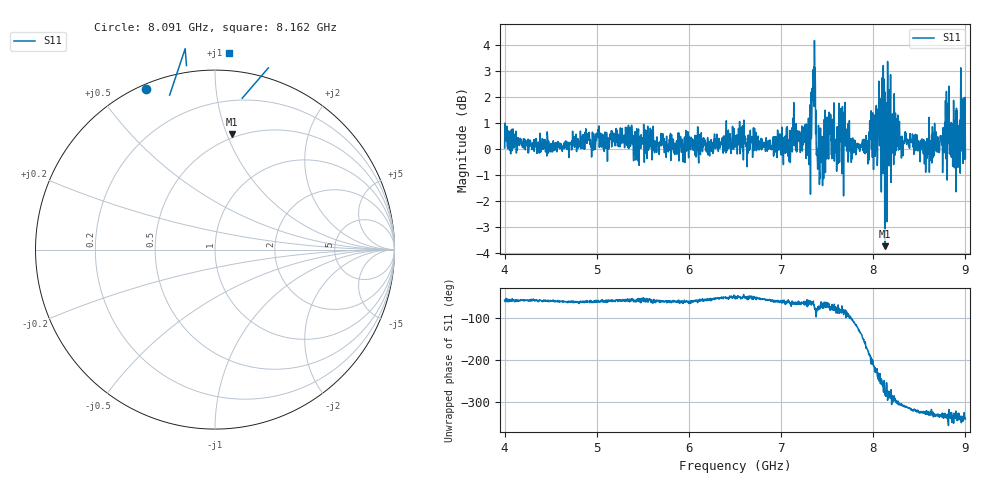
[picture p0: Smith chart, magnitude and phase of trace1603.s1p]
! Created with skrf 1.8.0 (http://scikit-rf.org).
# Hz S RI R 50.0
!freq ReS11 ImS11
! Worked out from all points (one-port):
!   1601 points, 4 GHz to 9 GHz, reference 50 ohm
!   lowest |S11| = -3.7 dB at 8.125 GHz (marker M1), VSWR 4.73, Z = 23.4 + j52.3 ohm
!   |S11| at or under -10 dB: nowhere
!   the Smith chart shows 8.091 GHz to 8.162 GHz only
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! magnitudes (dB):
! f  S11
! 4 GHz  0.0
! 4.625 GHz  -0.1
! 5.25 GHz  0.1
! 5.875 GHz  0.0
! 6.5 GHz  0.4
! 7.097 GHz  0.7
! 7.125 GHz  0.5
! 7.294 GHz  -0.1
! 7.347 GHz  3.0
! 7.366 GHz  2.5
! 7.409 GHz  0.4
! 7.438 GHz  -0.5
! 7.516 GHz  -0.4
! 7.591 GHz  0.4
! 7.65 GHz  1.6
! 7.75 GHz  0.3
! 7.931 GHz  0.2
! 8.097 GHz  1.4
! 8.125 GHz  -3.7
! 8.162 GHz  0.8
! 8.216 GHz  1.3
! 8.375 GHz  0.4
! 8.578 GHz  0.3
! 8.731 GHz  0.5
! 8.8 GHz  -0.2
! 8.919 GHz  -0.7
! 8.972 GHz  1.2
! 9 GHz  -0.4
